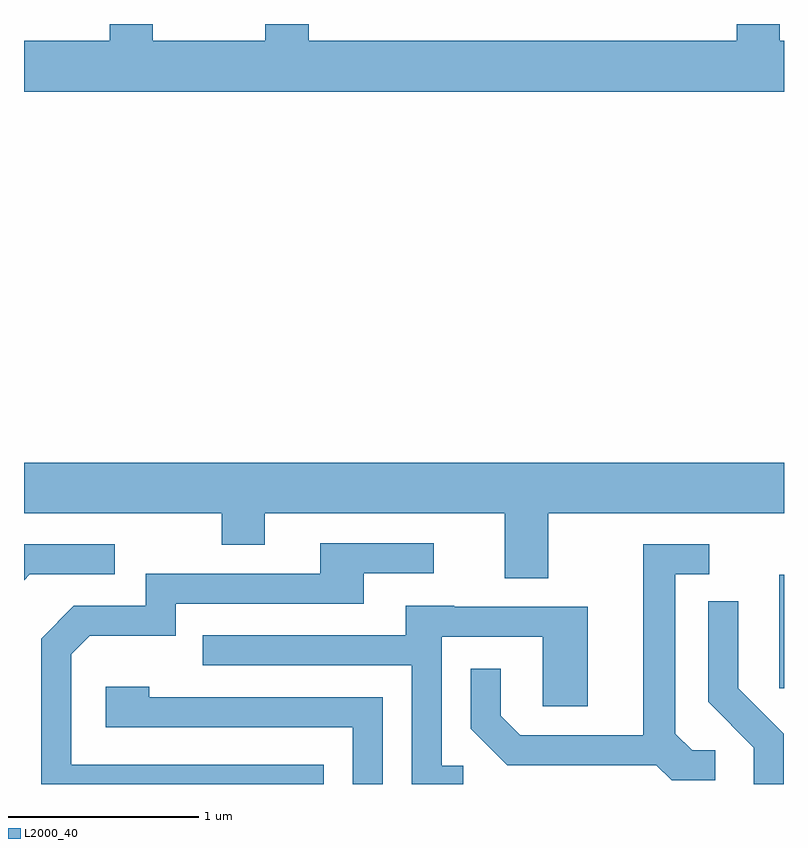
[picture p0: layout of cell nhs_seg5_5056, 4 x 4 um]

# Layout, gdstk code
import gdstk
lib = gdstk.Library(unit=1e-6, precision=1e-09)
def R(c, l, rs):  # rectangles x0, y0, x1, y1
    for r in rs: c.add(gdstk.rectangle(r[:2], r[2:], *l))
def P(c, l, *ps):  # polygons
    for p in ps: c.add(gdstk.Polygon(p, *l))
L2000_40 = (2000, 40)

nhs_seg5_5056 = lib.new_cell('nhs_seg5_5056')
R(nhs_seg5_5056, L2000_40, [(339.586,1422.576,339.611,1423.174)])
P(nhs_seg5_5056, L2000_40, [(339.611,1425.984),(339.589,1425.984),(339.589,1426.072),(339.361,1426.072),(339.361,1425.984),(337.109,1425.984),(337.109,1426.072),(336.881,1426.072),(336.881,1425.984),(336.289,1425.984),(336.289,1426.072),(336.061,1426.072),(336.061,1425.984),(335.611,1425.984),(335.611,1425.716),(339.611,1425.716)],
  [(338.369,1423.496),(339.611,1423.496),(339.611,1423.764),(335.611,1423.764),(335.611,1423.496),(336.651,1423.496),(336.651,1423.331),(336.879,1423.331),(336.879,1423.496),(338.141,1423.496),(338.141,1423.156),(338.369,1423.156)],
  [(337.189,1422.174),(335.859,1422.174),(335.859,1422.754),(335.957,1422.851),(336.409,1422.851),(336.409,1423.021),(337.399,1423.021),(337.399,1423.181),(337.768,1423.181),(337.768,1423.339),(337.171,1423.339),(337.171,1423.179),(336.251,1423.179),(336.251,1423.009),(335.874,1423.009),(335.701,1422.837),(335.701,1422.072),(337.189,1422.072)],
  [(339.248,1422.249),(339.127,1422.249),(339.039,1422.337),(339.039,1423.176),(339.218,1423.176),(339.218,1423.334),(338.871,1423.334),(338.871,1422.329),(338.222,1422.329),(338.119,1422.432),(338.119,1422.678),(337.961,1422.678),(337.961,1422.364),(338.154,1422.171),(338.939,1422.171),(339.019,1422.091),(339.248,1422.091)],
  [(335.642,1423.176),(336.088,1423.176),(336.088,1423.334),(335.611,1423.334),(335.611,1423.145)],
  [(339.609,1422.337),(339.369,1422.577),(339.369,1423.033),(339.211,1423.033),(339.211,1422.504),(339.451,1422.264),(339.451,1422.072),(339.609,1422.072)],
  [(337.923,1422.169),(337.809,1422.169),(337.809,1422.846),(338.341,1422.846),(338.341,1422.481),(338.579,1422.481),(338.579,1423.004),(337.875,1423.004),(337.875,1423.009),(337.621,1423.009),(337.621,1422.854),(336.553,1422.854),(336.553,1422.696),(337.651,1422.696),(337.651,1422.072),(337.923,1422.072)],
  [(337.499,1422.529),(336.269,1422.529),(336.269,1422.584),(336.041,1422.584),(336.041,1422.371),(337.341,1422.371),(337.341,1422.072),(337.499,1422.072)])

lib.write_gds('nhs_seg5_5056.gds')
